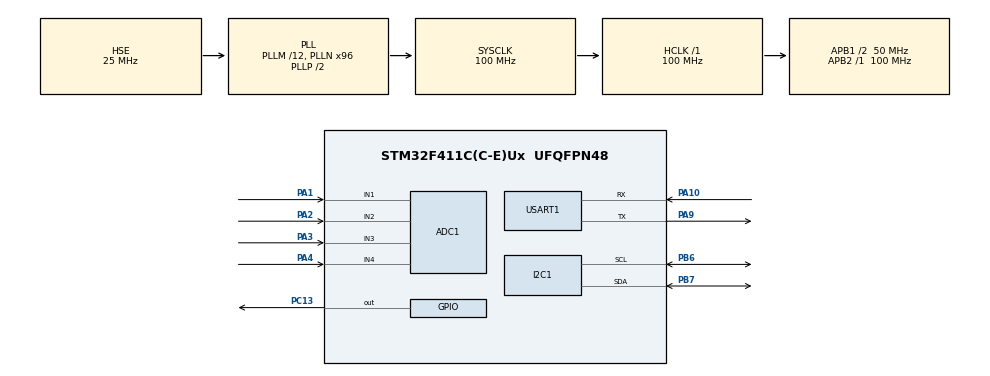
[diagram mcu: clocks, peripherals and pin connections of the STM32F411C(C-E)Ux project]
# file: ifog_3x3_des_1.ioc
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ADC1.Channel-1\#ChannelRegularConversion=ADC_CHANNEL_1
ADC1.Channel-2\#ChannelRegularConversion=ADC_CHANNEL_2
ADC1.Channel-3\#ChannelRegularConversion=ADC_CHANNEL_3
ADC1.Channel-4\#ChannelRegularConversion=ADC_CHANNEL_4
ADC1.InjNumberOfConversion=0
ADC1.NbrOfConversion=4
ADC1.NbrOfConversionFlag=1
ADC1.Rank-1\#ChannelRegularConversion=1
ADC1.Rank-2\#ChannelRegularConversion=2
ADC1.Rank-3\#ChannelRegularConversion=3
ADC1.Rank-4\#ChannelRegularConversion=4
ADC1.SamplingTime-1\#ChannelRegularConversion=ADC_SAMPLETIME_3CYCLES
ADC1.SamplingTime-2\#ChannelRegularConversion=ADC_SAMPLETIME_3CYCLES
ADC1.SamplingTime-3\#ChannelRegularConversion=ADC_SAMPLETIME_3CYCLES
ADC1.SamplingTime-4\#ChannelRegularConversion=ADC_SAMPLETIME_3CYCLES
ADC1.master=1
Mcu.Family=STM32F4
Mcu.Name=STM32F411C(C-E)Ux
Mcu.Package=UFQFPN48
NVIC.PriorityGroup=NVIC_PRIORITYGROUP_4
PA1.Signal=ADCx_IN1
PA10.Mode=Asynchronous
PA10.Signal=USART1_RX
PA13.Mode=Serial_Wire
PA13.Signal=SYS_JTMS-SWDIO
PA14.Mode=Serial_Wire
PA14.Signal=SYS_JTCK-SWCLK
PA2.Signal=ADCx_IN2
PA3.Signal=ADCx_IN3
PA4.Signal=ADCx_IN4
PA9.Mode=Asynchronous
PA9.Signal=USART1_TX
PB6.Mode=I2C
PB6.Signal=I2C1_SCL
PB7.Mode=I2C
PB7.Signal=I2C1_SDA
PC13-ANTI_TAMP.Signal=GPIO_Output
PH0\ -\ OSC_IN.Mode=HSE-External-Oscillator
PH0\ -\ OSC_IN.Signal=RCC_OSC_IN
PH1\ -\ OSC_OUT.Mode=HSE-External-Oscillator
PH1\ -\ OSC_OUT.Signal=RCC_OSC_OUT
ProjectManager.HeapSize=0x200
ProjectManager.StackSize=0x400
ProjectManager.TargetToolchain=STM32CubeIDE
RCC.48MHZClocksFreq_Value=50000000
RCC.AHBFreq_Value=100000000
RCC.APB1CLKDivider=RCC_HCLK_DIV2
RCC.APB1Freq_Value=50000000
RCC.APB1TimFreq_Value=100000000
RCC.APB2Freq_Value=100000000
RCC.APB2TimFreq_Value=100000000
RCC.CortexFreq_Value=100000000
RCC.HCLKFreq_Value=100000000
RCC.HSE_VALUE=25000000
RCC.HSI_VALUE=16000000
RCC.LSE_VALUE=32768
RCC.PLLM=12
RCC.PLLN=96
RCC.PLLSourceVirtual=RCC_PLLSOURCE_HSE
RCC.SYSCLKFreq_VALUE=100000000
RCC.SYSCLKSource=RCC_SYSCLKSOURCE_PLLCLK
RCC.VCOOutputFreq_Value=200000000
SH.ADCx_IN1.0=ADC1_IN1,IN1
SH.ADCx_IN2.0=ADC1_IN2,IN2
SH.ADCx_IN3.0=ADC1_IN3,IN3
SH.ADCx_IN4.0=ADC1_IN4,IN4
USART1.VirtualMode=VM_ASYNC
board=custom

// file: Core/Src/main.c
/* USER CODE BEGIN Header */
/**
  ******************************************************************************
  * @file           : main.c
  * @brief          : Main program body
  ******************************************************************************
  * @attention
  *
  * Copyright (c) 2024 STMicroelectronics.
  * All rights reserved.
  *
  * This software is licensed under terms that can be found in the LICENSE file
  * in the root directory of this software component.
  * If no LICENSE file comes with this software, it is provided AS-IS.
  *
  ******************************************************************************
  */
/* USER CODE END Header */
#include "main.h"

/* USER CODE BEGIN Includes */
#include <stdio.h>
#include <string.h>
#include "mcp9808.h"

/* USER CODE END Includes */

ADC_HandleTypeDef hadc1;

I2C_HandleTypeDef hi2c1;

UART_HandleTypeDef huart1;

/* USER CODE BEGIN PV */

/**
 * @brief
 *
 */
uint8_t msgstr[64];       // String where to store the serial port output
uint8_t data[2];          // Buffer for reading the register content
uint16_t data_long;       // Variable used to store the whole register content
float temperature = 0;    // Float variable used for storing the temperature value
float temperature_dec;    // Float variable used for calculation of the decimal part
uint8_t addr_temp = 0x05; // temperature data addr must be in this format to work correctly

// adc variables
uint16_t adc_value[4]; // 4 conversions

/* USER CODE END PV */

void SystemClock_Config(void);
static void MX_GPIO_Init(void);
static void MX_ADC1_Init(void);
static void MX_I2C1_Init(void);
static void MX_USART1_UART_Init(void);

/* USER CODE BEGIN 0 */

void select_adc_channel_1(void){
	ADC_ChannelConfTypeDef sConfig = {0};
	sConfig.Channel = ADC_CHANNEL_1;
	sConfig.Rank = 1;
	if (HAL_ADC_ConfigChannel(&hadc1, &sConfig) != HAL_OK){
		Error_Handler();
	}
}

void select_adc_channel_2(void){
	ADC_ChannelConfTypeDef sConfig = {0};
	sConfig.Channel = ADC_CHANNEL_2;
	sConfig.Rank = 2;
	if (HAL_ADC_ConfigChannel(&hadc1, &sConfig) != HAL_OK){
		Error_Handler();
	}
}

void select_adc_channel_3(void){
	ADC_ChannelConfTypeDef sConfig = {0};
	sConfig.Channel = ADC_CHANNEL_3;
	sConfig.Rank = 3;
	if (HAL_ADC_ConfigChannel(&hadc1, &sConfig) != HAL_OK){
		Error_Handler();
	}
}

void select_adc_channel_4(void){
	ADC_ChannelConfTypeDef sConfig = {0};
	sConfig.Channel = ADC_CHANNEL_4;
	sConfig.Rank = 4;
	if (HAL_ADC_ConfigChannel(&hadc1, &sConfig) != HAL_OK){
		Error_Handler();
	}
}

/* USER CODE END 0 */

int main(void)
{

  /* MCU Configuration--------------------------------------------------------*/

  /* Reset of all peripherals, Initializes the Flash interface and the Systick. */
  HAL_Init();

  /* Configure the system clock */
  SystemClock_Config();

  /* Initialize all configured peripherals */
  MX_GPIO_Init();
  MX_ADC1_Init();
  MX_I2C1_Init();
  MX_USART1_UART_Init();
  /* USER CODE BEGIN 2 */

  /**
   * @brief Configuring the MCP9808
   * Address the temperature register
   * if entered directly, should be like this -->> (uint8_t*)0x05
   */
  HAL_I2C_Master_Transmit(&hi2c1, SENSOR_TEMP_ADDR1, &addr_temp, 1, 2000);

    /** Blinking LED */
    for(int i=1; i<6; i++){
      HAL_GPIO_WritePin(GPIOC, GPIO_PIN_13, 0); // ON
      HAL_Delay(100);
      HAL_GPIO_WritePin(GPIOC, GPIO_PIN_13, 1); // OFF
      HAL_Delay(400);
    }
    HAL_GPIO_WritePin(GPIOC, GPIO_PIN_13, 0);

  /* USER CODE END 2 */

  /* Infinite loop */
  /* USER CODE BEGIN WHILE */
  while (1)
  {

    /**
    * @brief Blinking LED
    */
	  // HAL_GPIO_WritePin(GPIOC, GPIO_PIN_13, 0); // ON
	  // HAL_Delay(100);
	  // HAL_GPIO_WritePin(GPIOC, GPIO_PIN_13, 1); // OFF
	  // HAL_Delay(400);
	  HAL_GPIO_TogglePin(GPIOC, GPIO_PIN_13);

    /**
     * @brief Reading temperature from mcp9808
     */
	  HAL_I2C_Master_Receive(&hi2c1, SENSOR_TEMP_ADDR1, data, 2, 2000u);

    data_long = ((data[0] << 8u) | data[1]); /* Compose the register content, regardless of the endianess */
    temperature = ((data_long & 0x0FFF) >> 4); /* Extract the integer part from the fixed point value */
	  temperature_dec = 0.0625; /* Extract decimal part */

    for(int i=0; i < 4; i++){
		  temperature += ((data_long >> i) & 0x0001) * temperature_dec;
		  temperature_dec *= 2u;
    }

    /**
     * @brief Reading transimpedance signals
     */

    select_adc_channel_1();
    HAL_ADC_Start(&hadc1);
    HAL_ADC_PollForConversion(&hadc1, 2000);
    adc_value[0] = HAL_ADC_GetValue(&hadc1);
    HAL_ADC_Stop(&hadc1);

    select_adc_channel_2();
    HAL_ADC_Start(&hadc1);
    HAL_ADC_PollForConversion(&hadc1, 2000);
    adc_value[1] = HAL_ADC_GetValue(&hadc1);
    HAL_ADC_Stop(&hadc1);

    select_adc_channel_3();
    HAL_ADC_Start(&hadc1);
    HAL_ADC_PollForConversion(&hadc1, 2000);
    adc_value[2] = HAL_ADC_GetValue(&hadc1);
    HAL_ADC_Stop(&hadc1);

    select_adc_channel_4();
    HAL_ADC_Start(&hadc1);
    HAL_ADC_PollForConversion(&hadc1, 2000);
    adc_value[3] = HAL_ADC_GetValue(&hadc1);
    HAL_ADC_Stop(&hadc1);

    /**
     * @brief Transmit via UART
     */
	  sprintf(msgstr, "temp: %f\r\n", temperature);
	  HAL_UART_Transmit(&huart1, msgstr, strlen(msgstr), 20);
	  HAL_Delay(500);  /* Wait one second */

    /* USER CODE END WHILE */

  }
}

void SystemClock_Config(void)
{
  RCC_OscInitTypeDef RCC_OscInitStruct = {0};
  RCC_ClkInitTypeDef RCC_ClkInitStruct = {0};

  /** Configure the main internal regulator output voltage
  */
  __HAL_RCC_PWR_CLK_ENABLE();
  __HAL_PWR_VOLTAGESCALING_CONFIG(PWR_REGULATOR_VOLTAGE_SCALE1);

  /** Initializes the RCC Oscillators according to the specified parameters
  * in the RCC_OscInitTypeDef structure.
  */
  RCC_OscInitStruct.OscillatorType = RCC_OSCILLATORTYPE_HSE;
  RCC_OscInitStruct.HSEState = RCC_HSE_ON;
  RCC_OscInitStruct.PLL.PLLState = RCC_PLL_ON;
  RCC_OscInitStruct.PLL.PLLSource = RCC_PLLSOURCE_HSE;
  RCC_OscInitStruct.PLL.PLLM = 12;
  RCC_OscInitStruct.PLL.PLLN = 96;
  RCC_OscInitStruct.PLL.PLLP = RCC_PLLP_DIV2;
  RCC_OscInitStruct.PLL.PLLQ = 4;
  if (HAL_RCC_OscConfig(&RCC_OscInitStruct) != HAL_OK)
  {
    Error_Handler();
  }

  /** Initializes the CPU, AHB and APB buses clocks
  */
  RCC_ClkInitStruct.ClockType = RCC_CLOCKTYPE_HCLK|RCC_CLOCKTYPE_SYSCLK
                              |RCC_CLOCKTYPE_PCLK1|RCC_CLOCKTYPE_PCLK2;
  RCC_ClkInitStruct.SYSCLKSource = RCC_SYSCLKSOURCE_PLLCLK;
  RCC_ClkInitStruct.AHBCLKDivider = RCC_SYSCLK_DIV1;
  RCC_ClkInitStruct.APB1CLKDivider = RCC_HCLK_DIV2;
  RCC_ClkInitStruct.APB2CLKDivider = RCC_HCLK_DIV1;

  if (HAL_RCC_ClockConfig(&RCC_ClkInitStruct, FLASH_LATENCY_3) != HAL_OK)
  {
    Error_Handler();
  }
}

static void MX_ADC1_Init(void)
{

  ADC_ChannelConfTypeDef sConfig = {0};

  /** Configure the global features of the ADC (Clock, Resolution, Data Alignment and number of conversion)
  */
  hadc1.Instance = ADC1;
  hadc1.Init.ClockPrescaler = ADC_CLOCK_SYNC_PCLK_DIV4;
  hadc1.Init.Resolution = ADC_RESOLUTION_12B;
  hadc1.Init.ScanConvMode = ENABLE;
  hadc1.Init.ContinuousConvMode = DISABLE;
  hadc1.Init.DiscontinuousConvMode = DISABLE;
  hadc1.Init.ExternalTrigConvEdge = ADC_EXTERNALTRIGCONVEDGE_NONE;
  hadc1.Init.ExternalTrigConv = ADC_SOFTWARE_START;
  hadc1.Init.DataAlign = ADC_DATAALIGN_RIGHT;
  hadc1.Init.NbrOfConversion = 4;
  hadc1.Init.DMAContinuousRequests = DISABLE;
  hadc1.Init.EOCSelection = ADC_EOC_SINGLE_CONV;
  if (HAL_ADC_Init(&hadc1) != HAL_OK)
  {
    Error_Handler();
  }

  /** Configure for the selected ADC regular channel its corresponding rank in the sequencer and its sample time.
  */
  sConfig.Channel = ADC_CHANNEL_1;
  sConfig.Rank = 1;
  sConfig.SamplingTime = ADC_SAMPLETIME_3CYCLES;
  if (HAL_ADC_ConfigChannel(&hadc1, &sConfig) != HAL_OK)
  {
    Error_Handler();
  }

  /** Configure for the selected ADC regular channel its corresponding rank in the sequencer and its sample time.
  */
  sConfig.Channel = ADC_CHANNEL_2;
  sConfig.Rank = 2;
  if (HAL_ADC_ConfigChannel(&hadc1, &sConfig) != HAL_OK)
  {
    Error_Handler();
  }

  /** Configure for the selected ADC regular channel its corresponding rank in the sequencer and its sample time.
  */
  sConfig.Channel = ADC_CHANNEL_3;
  sConfig.Rank = 3;
  if (HAL_ADC_ConfigChannel(&hadc1, &sConfig) != HAL_OK)
  {
    Error_Handler();
  }

  /** Configure for the selected ADC regular channel its corresponding rank in the sequencer and its sample time.
  */
  sConfig.Channel = ADC_CHANNEL_4;
  sConfig.Rank = 4;
  if (HAL_ADC_ConfigChannel(&hadc1, &sConfig) != HAL_OK)
  {
    Error_Handler();
  }

}

static void MX_I2C1_Init(void)
{

  hi2c1.Instance = I2C1;
  hi2c1.Init.ClockSpeed = 100000;
  hi2c1.Init.DutyCycle = I2C_DUTYCYCLE_2;
  hi2c1.Init.OwnAddress1 = 0;
  hi2c1.Init.AddressingMode = I2C_ADDRESSINGMODE_7BIT;
  hi2c1.Init.DualAddressMode = I2C_DUALADDRESS_DISABLE;
  hi2c1.Init.OwnAddress2 = 0;
  hi2c1.Init.GeneralCallMode = I2C_GENERALCALL_DISABLE;
  hi2c1.Init.NoStretchMode = I2C_NOSTRETCH_DISABLE;
  if (HAL_I2C_Init(&hi2c1) != HAL_OK)
  {
    Error_Handler();
  }

}

static void MX_USART1_UART_Init(void)
{

  huart1.Instance = USART1;
  huart1.Init.BaudRate = 115200;
  huart1.Init.WordLength = UART_WORDLENGTH_8B;
  huart1.Init.StopBits = UART_STOPBITS_1;
  huart1.Init.Parity = UART_PARITY_NONE;
  huart1.Init.Mode = UART_MODE_TX_RX;
  huart1.Init.HwFlowCtl = UART_HWCONTROL_NONE;
  huart1.Init.OverSampling = UART_OVERSAMPLING_16;
  if (HAL_UART_Init(&huart1) != HAL_OK)
  {
    Error_Handler();
  }

}

static void MX_GPIO_Init(void)
{
  GPIO_InitTypeDef GPIO_InitStruct = {0};

  /* GPIO Ports Clock Enable */
  __HAL_RCC_GPIOC_CLK_ENABLE();
  __HAL_RCC_GPIOH_CLK_ENABLE();
  __HAL_RCC_GPIOA_CLK_ENABLE();
  __HAL_RCC_GPIOB_CLK_ENABLE();

  /*Configure GPIO pin Output Level */
  HAL_GPIO_WritePin(GPIOC, GPIO_PIN_13, GPIO_PIN_RESET);

  /*Configure GPIO pin : PC13 */
  GPIO_InitStruct.Pin = GPIO_PIN_13;
  GPIO_InitStruct.Mode = GPIO_MODE_OUTPUT_PP;
  GPIO_InitStruct.Pull = GPIO_NOPULL;
  GPIO_InitStruct.Speed = GPIO_SPEED_FREQ_LOW;
  HAL_GPIO_Init(GPIOC, &GPIO_InitStruct);

}

void Error_Handler(void)
{
  __disable_irq();
  while (1)
  {
  }
}
